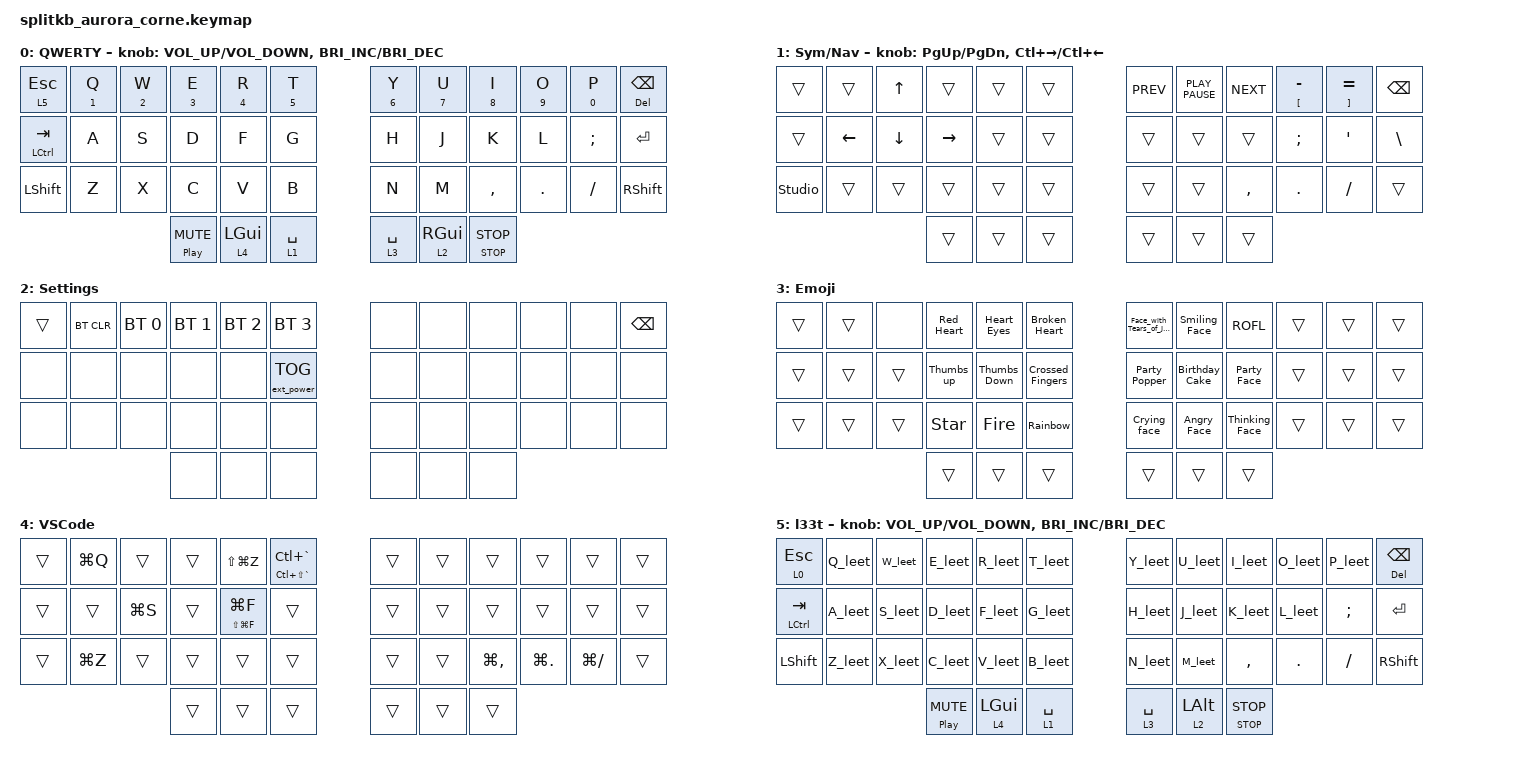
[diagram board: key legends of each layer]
#include <behaviors.dtsi>
#include <dt-bindings/zmk/bt.h>
#include <dt-bindings/zmk/ext_power.h>
#include <dt-bindings/zmk/keys.h>

// layers
// keys

#define HYPER LS(LC(LA(LGUI)))

/ {
    conditional_layers { compatible = "zmk,conditional-layers"; };

    macros {
        // L33T macros

        A_leet: A_leet {
            compatible = "zmk,behavior-macro";
            #binding-cells = <0>;
            bindings = <&kp SLASH &kp MINUS &kp BACKSLASH>;
            label = "A_LEET";
        };

        B_leet: B_leet {
            compatible = "zmk,behavior-macro";
            #binding-cells = <0>;
            bindings = <&kp PIPE &kp N3>;
            label = "B_LEET";
        };

        C_leet: C_leet {
            compatible = "zmk,behavior-macro";
            #binding-cells = <0>;
            bindings = <&kp LBRC>;
            label = "C_LEET";
        };

        D_leet: D_leet {
            compatible = "zmk,behavior-macro";
            #binding-cells = <0>;
            bindings = <&kp PIPE &kp RIGHT_PARENTHESIS>;
            label = "D_LEET";
        };

        E_leet: E_leet {
            compatible = "zmk,behavior-macro";
            #binding-cells = <0>;
            bindings = <&kp N3>;
            label = "E_LEET";
        };

        F_leet: F_leet {
            compatible = "zmk,behavior-macro";
            #binding-cells = <0>;
            bindings = <&kp PIPE &kp EQUAL>;
            label = "F_LEET";
        };

        G_leet: G_leet {
            compatible = "zmk,behavior-macro";
            #binding-cells = <0>;
            bindings = <&kp LEFT_PARENTHESIS &kp PLUS>;
            label = "G_LEET";
        };

        H_leet: H_leet {
            compatible = "zmk,behavior-macro";
            #binding-cells = <0>;
            bindings = <&kp LEFT_BRACKET &kp MINUS &kp RIGHT_BRACKET>;
            label = "H_LEET";
        };

        I_leet: I_leet {
            compatible = "zmk,behavior-macro";
            #binding-cells = <0>;
            bindings = <&kp N1>;
            label = "I_LEET";
        };

        J_leet: J_leet {
            compatible = "zmk,behavior-macro";
            #binding-cells = <0>;
            bindings = <&kp UNDERSCORE &kp SLASH>;
            label = "J_LEET";
        };

        K_leet: K_leet {
            compatible = "zmk,behavior-macro";
            #binding-cells = <0>;
            bindings = <&kp PIPE &kp LT>;
            label = "K_LEET";
        };

        L_leet: L_leet {
            compatible = "zmk,behavior-macro";
            #binding-cells = <0>;
            bindings = <&kp PIPE &kp UNDER>;
            label = "L_LEET";
        };

        M_leet: M_leet {
            compatible = "zmk,behavior-macro";
            #binding-cells = <0>;
            bindings = <&kp NUMBER_4 &kp NUMBER_4>;
            label = "M_LEET";
        };

        N_leet: N_leet {
            compatible = "zmk,behavior-macro";
            #binding-cells = <0>;
            bindings = <&kp PIPE &kp BSLH &kp PIPE>;
            label = "N_LEET";
        };

        O_leet: O_leet {
            compatible = "zmk,behavior-macro";
            #binding-cells = <0>;
            bindings = <&kp LEFT_PARENTHESIS &kp RIGHT_PARENTHESIS>;
            label = "O_LEET";
        };

        P_leet: P_leet {
            compatible = "zmk,behavior-macro";
            #binding-cells = <0>;
            bindings = <&kp PIPE &kp ASTERISK>;
            label = "P_LEET";
        };

        Q_leet: Q_leet {
            compatible = "zmk,behavior-macro";
            #binding-cells = <0>;
            bindings = <&kp LEFT_PARENTHESIS &kp COMMA &kp RIGHT_PARENTHESIS>;
            label = "Q_LEET";
        };

        R_leet: R_leet {
            compatible = "zmk,behavior-macro";
            #binding-cells = <0>;
            bindings = <&kp PIPE &kp N2>;
            label = "R_LEET";
        };

        S_leet: S_leet {
            compatible = "zmk,behavior-macro";
            #binding-cells = <0>;
            bindings = <&kp DOLLAR>;
            label = "S_LEET";
        };

        T_leet: T_leet {
            compatible = "zmk,behavior-macro";
            #binding-cells = <0>;
            bindings = <&kp N7>;
            label = "T_LEET";
        };

        U_leet: U_leet {
            compatible = "zmk,behavior-macro";
            #binding-cells = <0>;
            bindings = <&kp LEFT_PARENTHESIS &kp UNDER &kp RIGHT_PARENTHESIS>;
            label = "U_LEET";
        };

        V_leet: V_leet {
            compatible = "zmk,behavior-macro";
            #binding-cells = <0>;
            bindings = <&kp BSLH &kp FSLH>;
            label = "V_LEET";
        };

        W_leet: W_leet {
            compatible = "zmk,behavior-macro";
            #binding-cells = <0>;
            bindings = <&kp BSLH &kp FSLH &kp BSLH &kp FSLH>;
            label = "W_LEET";
        };

        X_leet: X_leet {
            compatible = "zmk,behavior-macro";
            #binding-cells = <0>;
            bindings = <&kp GT &kp LT>;
            label = "X_LEET";
        };

        Y_leet: Y_leet {
            compatible = "zmk,behavior-macro";
            #binding-cells = <0>;
            bindings = <&kp RS(SINGLE_QUOTE) &kp SLASH>;
            label = "Y_LEET";
        };

        Z_leet: Z_leet {
            compatible = "zmk,behavior-macro";
            #binding-cells = <0>;
            bindings = <&kp N7 &kp UNDER>;
            label = "Z_LEET";
        };

        // Endof L33T macros
        // Emoji Macros

        Red_Heart: Red_Heart {
            compatible = "zmk,behavior-macro";
            #binding-cells = <0>;
            bindings = <&kp LT &kp N3 &kp SPACE>;
            label = "RED_HEART";
        };

        Heart_Eyes: Heart_Eyes {
            compatible = "zmk,behavior-macro";
            #binding-cells = <0>;
            bindings = <&kp COLON &kp H &kp E &kp A &kp R &kp T &kp UNDER &kp E &kp Y &kp E &kp S &kp COLON &kp SPACE>;
            label = "HEART_EYES";
        };

        Broken_Heart: Broken_Heart {
            compatible = "zmk,behavior-macro";
            #binding-cells = <0>;
            bindings = <&kp LT &kp FSLH &kp N3 &kp SPACE>;
            label = "BROKEN_HEART";
        };

        Face_with_Tears_of_Joy: Face_with_Tears_of_Joy {
            compatible = "zmk,behavior-macro";
            #binding-cells = <0>;
            bindings = <&kp COLON &kp J &kp O &kp Y &kp COLON &kp SPACE>;
            label = "FACE_WITH_TEARS_OF_JOY";
        };

        Smiling_Face: Smiling_Face {
            compatible = "zmk,behavior-macro";
            #binding-cells = <0>;
            bindings = <&kp COLON &kp RPAR &kp SPACE>;
            label = "SMILING_FACE";
        };

        ROFL: ROFL {
            compatible = "zmk,behavior-macro";
            #binding-cells = <0>;
            bindings = <&kp COLON &kp R &kp O &kp L &kp L &kp I &kp N &kp G &kp UNDER &kp O &kp N &kp UNDER &kp T &kp H &kp E &kp UNDER &kp F &kp L &kp O &kp O &kp R &kp UNDER &kp L &kp A &kp U &kp G &kp H &kp I &kp N &kp G &kp COLON &kp SPACE>;
            label = "ROFL";
        };

        Thumbs_up: Thumbs_up {
            compatible = "zmk,behavior-macro";
            #binding-cells = <0>;
            bindings = <&kp COLON &kp PLUS &kp N1 &kp COLON &kp SPACE>;
            label = "THUMBS_UP";
        };

        Thumbs_Down: Thumbs_Down {
            compatible = "zmk,behavior-macro";
            #binding-cells = <0>;
            bindings = <&kp COLON &kp MINUS &kp N1 &kp COLON &kp SPACE>;
            label = "THUMBS_DOWN";
        };

        Crossed_Fingers: Crossed_Fingers {
            compatible = "zmk,behavior-macro";
            #binding-cells = <0>;
            bindings = <&kp COLON &kp C &kp R &kp O &kp S &kp S &kp E &kp D &kp UNDER &kp F &kp I &kp N &kp G &kp E &kp R &kp S &kp COLON &kp SPACE>;
            label = "CROSSED_FINGERS";
        };

        Party_Popper: Party_Popper {
            compatible = "zmk,behavior-macro";
            #binding-cells = <0>;
            bindings = <&kp COLON &kp T &kp A &kp D &kp A &kp COLON &kp SPACE>;
            label = "PARTY_POPPER";
        };

        Birthday_Cake: Birthday_Cake {
            compatible = "zmk,behavior-macro";
            #binding-cells = <0>;
            bindings = <&kp COLON &kp B &kp I &kp R &kp T &kp H &kp D &kp A &kp Y &kp COLON &kp SPACE>;
            label = "BIRTHDAY_CAKE";
        };

        Party_Face: Party_Face {
            compatible = "zmk,behavior-macro";
            #binding-cells = <0>;
            bindings = <&kp COLON &kp P &kp A &kp R &kp T &kp Y &kp I &kp N &kp G &kp UNDER &kp F &kp A &kp C &kp E &kp COLON &kp SPACE>;
            label = "PARTY_FACE";
        };

        Star: Star {
            compatible = "zmk,behavior-macro";
            #binding-cells = <0>;
            bindings = <&kp COLON &kp S &kp T &kp A &kp R &kp COLON &kp SPACE>;
            label = "STAR";
        };

        Fire: Fire {
            compatible = "zmk,behavior-macro";
            #binding-cells = <0>;
            bindings = <&kp COLON &kp F &kp I &kp R &kp E &kp COLON &kp SPACE>;
            label = "FIRE";
        };

        Rainbow: Rainbow {
            compatible = "zmk,behavior-macro";
            #binding-cells = <0>;
            bindings = <&kp COLON &kp R &kp A &kp I &kp N &kp B &kp O &kp W &kp COLON &kp SPACE>;
            label = "RAINBOW";
        };

        Crying_face: Crying_face {
            compatible = "zmk,behavior-macro";
            #binding-cells = <0>;
            bindings = <&kp COLON &kp C &kp R &kp Y &kp COLON &kp SPACE>;
            label = "CRYING_FACE";
        };

        Angry_Face: Angry_Face {
            compatible = "zmk,behavior-macro";
            #binding-cells = <0>;
            bindings = <&kp COLON &kp R &kp A &kp G &kp E &kp COLON &kp SPACE>;
            label = "ANGRY_FACE";
        };

        Thinking_Face: Thinking_Face {
            compatible = "zmk,behavior-macro";
            #binding-cells = <0>;
            bindings = <&kp COLON &kp T &kp H &kp I &kp N &kp K &kp I &kp N &kp G &kp UNDER &kp F &kp A &kp C &kp E &kp COLON &kp SPACE>;
            label = "THINKING_FACE";
        };

        // Endof Emoji Macros
        // Desktop Macros

        next_desktop: next_desktop {
            compatible = "zmk,behavior-macro";
            #binding-cells = <0>;
            bindings = <&kp LEFT_CONTROL &kp RIGHT>;
            label = "NEXT_DESKTOP";
        };

        previous_desktop: previous_desktop {
            compatible = "zmk,behavior-macro";
            #binding-cells = <0>;
            bindings = <&kp LEFT_CONTROL &kp LEFT>;
            label = "PREVIOUS_DESKTOP";
        };

        // Endof Desktop Macros
    };

    behaviors {
        ht: hold_tap {
            compatible = "zmk,behavior-hold-tap";
            label = "HOLD_TAP";
            #binding-cells = <2>;
            tapping-term-ms = <200>;
            quick_tap_ms = <0>;
            flavor = "tap-preferred";
            bindings = <&kp>, <&kp>;
        };

        rotary_desktop_move: rotary_desktop_move {
            compatible = "zmk,behavior-sensor-rotate";
            label = "ROTARY_DESKTOP_MOVE";
            #sensor-binding-cells = <0>;
            bindings = <&next_desktop>, <&previous_desktop>;
        };

        sensor_rotate_var: sensor_rotate_var {
            compatible = "zmk,behavior-sensor-rotate-var";
            label = "SENSOR_ROTATE_VAR";
            #sensor-binding-cells = <2>;
            bindings = <&kp>, <&kp>;
        };
    };

    keymap {
        compatible = "zmk,keymap";

        QWERTY {
            bindings = <
&lt 5 ESCAPE    &ht NUMBER_1 Q  &ht NUMBER_2 W  &ht NUMBER_3 E           &ht NUMBER_4 R  &ht NUMBER_5 T    &ht NUMBER_6 Y  &ht NUMBER_7 U   &ht NUMBER_8 I     &ht NUMBER_9 O  &ht NUMBER_0 P  &mt DELETE BACKSPACE
&ht LCTRL TAB   &kp A           &kp S           &kp D                    &kp F           &kp G             &kp H           &kp J            &kp K              &kp L           &kp SEMICOLON   &kp ENTER
&kp LEFT_SHIFT  &kp Z           &kp X           &kp C                    &kp V           &kp B             &kp N           &kp M            &kp COMMA          &kp DOT         &kp FSLH        &kp RSHFT
                                                &ht C_PLAY_PAUSE C_MUTE  &lt 4 LGUI      &lt 1 SPACE       &lt 3 SPACE     &lt 2 RIGHT_GUI  &ht C_STOP C_STOP
            >;

            sensor-bindings =
                <&inc_dec_kp K_VOLUME_UP K_VOLUME_DOWN>,
                <&inc_dec_kp C_BRIGHTNESS_INC C_BRIGHTNESS_DEC>;

            label = "QWERTY";
        };

        sym-nav {
            bindings = <
&trans  &trans          &kp UP_ARROW  &trans     &trans  &trans    &kp K_PREV  &kp K_PLAY_PAUSE  &kp K_NEXT  &ht LEFT_BRACKET MINUS  &ht RIGHT_BRACKET EQUAL  &kp BSPC
&trans  &kp LEFT_ARROW  &kp DOWN      &kp RIGHT  &trans  &trans    &trans      &trans            &trans      &kp SEMI                &kp SQT                  &kp BACKSLASH
&studio_unlock  &trans          &trans        &trans     &trans  &trans    &trans      &trans            &kp COMMA   &kp DOT                 &kp FSLH                 &trans
                                      &trans     &trans  &trans    &trans      &trans            &trans
            >;

            label = "Sym/Nav";
            sensor-bindings =
                <&inc_dec_kp PAGE_UP PAGE_DOWN>,
                <&inc_dec_kp LC(RIGHT_ARROW) LC(LEFT_ARROW)>;
        };

        Settings {
            bindings = <
&trans  &bt BT_CLR  &bt BT_SEL 0  &bt BT_SEL 1  &bt BT_SEL 2  &bt BT_SEL 3         &none  &none  &none  &none  &none  &kp BSPC
&none   &none       &none         &none         &none         &ext_power EP_TOG    &none  &none  &none  &none  &none  &none
&none   &none       &none         &none         &none         &none                &none  &none  &none  &none  &none  &none
                                  &none         &none         &none                &none  &none  &none
            >;

            label = "Settings ";
        };

        Emoji {
            bindings = <
&trans  &trans  &none   &Red_Heart  &Heart_Eyes   &Broken_Heart       &Face_with_Tears_of_Joy  &Smiling_Face   &ROFL           &trans  &trans  &trans
&trans  &trans  &trans  &Thumbs_up  &Thumbs_Down  &Crossed_Fingers    &Party_Popper            &Birthday_Cake  &Party_Face     &trans  &trans  &trans
&trans  &trans  &trans  &Star       &Fire         &Rainbow            &Crying_face             &Angry_Face     &Thinking_Face  &trans  &trans  &trans
                        &trans      &trans        &trans              &trans                   &trans          &trans
            >;

            label = "Emoji";
        };

        VSCode {
            bindings = <
&trans  &kp LG(Q)  &trans     &trans  &kp LS(LG(Z))        &ht LC(LS(GRAVE)) LC(GRAVE)    &trans  &trans  &trans         &trans          &trans         &trans
&trans  &trans     &kp LG(S)  &trans  &ht LS(LG(F)) LG(F)  &trans                         &trans  &trans  &trans         &trans          &trans         &trans
&trans  &kp LG(Z)  &trans     &trans  &trans               &trans                         &trans  &trans  &kp LG(COMMA)  &kp LG(PERIOD)  &kp LG(SLASH)  &trans
                              &trans  &trans               &trans                         &trans  &trans  &trans
            >;

            label = "VSCode";
        };

        l33t {
            bindings = <
&lt 0 ESCAPE    &Q_leet  &W_leet  &E_leet                  &R_leet     &T_leet        &Y_leet      &U_leet         &I_leet            &O_leet  &P_leet        &mt DELETE BACKSPACE
&ht LCTRL TAB   &A_leet  &S_leet  &D_leet                  &F_leet     &G_leet        &H_leet      &J_leet         &K_leet            &L_leet  &kp SEMICOLON  &kp ENTER
&kp LEFT_SHIFT  &Z_leet  &X_leet  &C_leet                  &V_leet     &B_leet        &N_leet      &M_leet         &kp COMMA          &kp DOT  &kp FSLH       &kp RSHFT
                                  &ht C_PLAY_PAUSE C_MUTE  &lt 4 LGUI  &lt 1 SPACE    &lt 3 SPACE  &lt 2 LEFT_ALT  &ht C_STOP C_STOP
            >;
            sensor-bindings =
                <&inc_dec_kp K_VOLUME_UP K_VOLUME_DOWN>,
                <&inc_dec_kp C_BRIGHTNESS_INC C_BRIGHTNESS_DEC>;

            label = "l33t";
        };
    };
};

// template
//  ┌──┬──┬──┬──┬──┬──┐      ┌──┬──┬──┬──┬──┬──┐
//  │  │  │  │  │  │  │      │  │  │  │  │  │  │
//  ├──┼──┼──┼──┼──┼──┤      ├──┼──┼──┼──┼──┼──┤
//  │  │  │  │  │  │  │      │  │  │  │  │  │  │
//  ├──┼──┼──┼──┼──┼──┤      ├──┼──┼──┼──┼──┼──┤
//  │  │  │  │  │  │  │      │  │  │  │  │  │  │
//  └──┴──┴──┴─┬┴─┬┴─┬┴─┐   ┌┴─┬┴─┬┴─┬┴──┴──┴──┘
//             │  │  │  │   │  │  │  │
//             └──┴──┴──┘   └──┴──┴──┘
